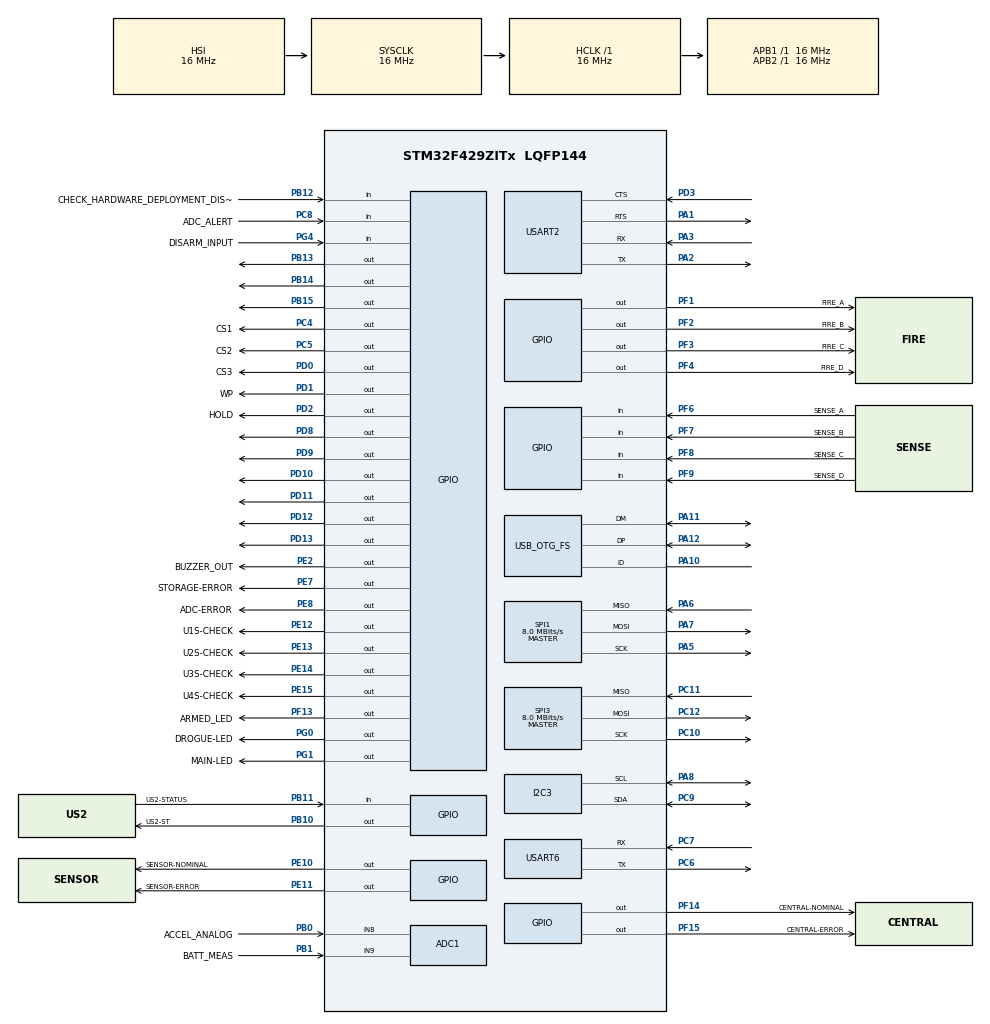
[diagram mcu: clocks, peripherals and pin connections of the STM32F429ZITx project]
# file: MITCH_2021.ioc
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ADC1.Channel-0\#ChannelRegularConversion=ADC_CHANNEL_8
ADC1.NbrOfConversionFlag=1
ADC1.Rank-0\#ChannelRegularConversion=1
ADC1.SamplingTime-0\#ChannelRegularConversion=ADC_SAMPLETIME_3CYCLES
ADC1.master=1
Dma.ADC1.0.Direction=DMA_PERIPH_TO_MEMORY
Dma.ADC1.0.FIFOMode=DMA_FIFOMODE_DISABLE
Dma.ADC1.0.Instance=DMA2_Stream0
Dma.ADC1.0.MemDataAlignment=DMA_MDATAALIGN_HALFWORD
Dma.ADC1.0.MemInc=DMA_MINC_ENABLE
Dma.ADC1.0.Mode=DMA_NORMAL
Dma.ADC1.0.PeriphDataAlignment=DMA_PDATAALIGN_HALFWORD
Dma.ADC1.0.PeriphInc=DMA_PINC_DISABLE
Dma.ADC1.0.Priority=DMA_PRIORITY_HIGH
Dma.Request0=ADC1
Dma.Request1=SPI1_RX
Dma.SPI1_RX.1.Direction=DMA_PERIPH_TO_MEMORY
Dma.SPI1_RX.1.FIFOMode=DMA_FIFOMODE_DISABLE
Dma.SPI1_RX.1.Instance=DMA2_Stream2
Dma.SPI1_RX.1.MemDataAlignment=DMA_MDATAALIGN_HALFWORD
Dma.SPI1_RX.1.MemInc=DMA_MINC_ENABLE
Dma.SPI1_RX.1.Mode=DMA_NORMAL
Dma.SPI1_RX.1.PeriphDataAlignment=DMA_PDATAALIGN_HALFWORD
Dma.SPI1_RX.1.PeriphInc=DMA_PINC_DISABLE
Dma.SPI1_RX.1.Priority=DMA_PRIORITY_LOW
FREERTOS.INCLUDE_vTaskDelayUntil=1
FREERTOS.Tasks01=ControlLogic,0,128,startControlLogic,Default,NULL,Static,ControlLogicBuffer,ControlLogicControlBlock;Acquisition,3,128,startAcquisition,Default,NULL,Static,AcquisitionBuffer,AcquisitionControlBlock;Processing,0,128,startProcessing,Default,NULL,Static,ProcessingBuffer,ProcessingControlBlock;Monitoring,-2,128,startMonitoring,Default,NULL,Static,MonitoringBuffer,MonitoringControlBlock
Mcu.Family=STM32F4
Mcu.Name=STM32F429ZITx
Mcu.Package=LQFP144
NVIC.DMA2_Stream0_IRQn=true\:5\:0\:false\:false\:true\:true\:false\:true
NVIC.DMA2_Stream2_IRQn=true\:5\:0\:false\:false\:true\:true\:false\:true
NVIC.PriorityGroup=NVIC_PRIORITYGROUP_4
NVIC.TIM1_UP_TIM10_IRQn=true\:0\:0\:false\:false\:true\:false\:false\:true
NVIC.TimeBase=TIM1_UP_TIM10_IRQn
NVIC.TimeBaseIP=TIM1
PA1.Mode=CTS_RTS
PA1.Signal=USART2_RTS
PA10.Mode=OTG/Dual_Role_Device
PA10.Signal=USB_OTG_FS_ID
PA11.Mode=OTG/Dual_Role_Device
PA11.Signal=USB_OTG_FS_DM
PA12.Mode=OTG/Dual_Role_Device
PA12.Signal=USB_OTG_FS_DP
PA13.Signal=SYS_JTMS-SWDIO
PA14.Signal=SYS_JTCK-SWCLK
PA2.Mode=Asynchronous
PA2.Signal=USART2_TX
PA3.Mode=Asynchronous
PA3.Signal=USART2_RX
PA5.Mode=Full_Duplex_Master
PA5.Signal=SPI1_SCK
PA6.Mode=Full_Duplex_Master
PA6.Signal=SPI1_MISO
PA7.Mode=Full_Duplex_Master
PA7.Signal=SPI1_MOSI
PA8.Mode=I2C
PA8.Signal=I2C3_SCL
PB0.GPIO_Label=ACCEL_ANALOG
PB0.Signal=SharedAnalog_PB0
PB1.GPIO_Label=BATT_MEAS
PB1.Signal=SharedAnalog_PB1
PB10.GPIO_Label=US2-ST
PB10.Signal=GPIO_Output
PB11.GPIO_Label=US2-STATUS
PB11.Signal=GPIO_Input
PB12.GPIO_Label=CHECK_HARDWARE_DEPLOYMENT_DISABLE
PB12.Signal=GPIO_Input
PB13.Signal=GPIO_Output
PB14.Signal=GPIO_Output
PB15.Signal=GPIO_Output
PB3.Signal=SYS_JTDO-SWO
PC10.Mode=Full_Duplex_Master
PC10.Signal=SPI3_SCK
PC11.Mode=Full_Duplex_Master
PC11.Signal=SPI3_MISO
PC12.Mode=Full_Duplex_Master
PC12.Signal=SPI3_MOSI
PC4.GPIO_Label=CS1
PC4.Signal=GPIO_Output
PC5.GPIO_Label=CS2
PC5.Signal=GPIO_Output
PC6.Mode=Asynchronous
PC6.Signal=USART6_TX
PC7.Mode=Asynchronous
PC7.Signal=USART6_RX
PC8.GPIO_Label=ADC_ALERT
PC8.Signal=GPIO_Input
PC9.Mode=I2C
PC9.Signal=I2C3_SDA
PD0.GPIO_Label=CS3
PD0.Signal=GPIO_Output
PD1.GPIO_Label=WP
PD1.Signal=GPIO_Output
PD10.Signal=GPIO_Output
PD11.Signal=GPIO_Output
PD12.Signal=GPIO_Output
PD13.Signal=GPIO_Output
PD2.GPIO_Label=HOLD
PD2.Signal=GPIO_Output
PD3.Mode=CTS_RTS
PD3.Signal=USART2_CTS
PD8.Signal=GPIO_Output
PD9.Signal=GPIO_Output
PE10.GPIO_Label=SENSOR-NOMINAL
PE10.Signal=GPIO_Output
PE11.GPIO_Label=SENSOR-ERROR
PE11.Signal=GPIO_Output
PE12.GPIO_Label=U1S-CHECK
PE12.Signal=GPIO_Output
PE13.GPIO_Label=U2S-CHECK
PE13.Signal=GPIO_Output
PE14.GPIO_Label=U3S-CHECK
PE14.Signal=GPIO_Output
PE15.GPIO_Label=U4S-CHECK
PE15.Signal=GPIO_Output
PE2.GPIO_Label=BUZZER_OUT
PE2.Signal=GPIO_Output
PE7.GPIO_Label=STORAGE-ERROR
PE7.Signal=GPIO_Output
PE8.GPIO_Label=ADC-ERROR
PE8.Signal=GPIO_Output
PF1.GPIO_Label=FIRE_A
PF1.Signal=GPIO_Output
PF13.GPIO_Label=ARMED_LED
PF13.Signal=GPIO_Output
PF14.GPIO_Label=CENTRAL-NOMINAL
PF14.Signal=GPIO_Output
PF15.GPIO_Label=CENTRAL-ERROR
PF15.Signal=GPIO_Output
PF2.GPIO_Label=FIRE_B
PF2.Signal=GPIO_Output
PF3.GPIO_Label=FIRE_C
PF3.Signal=GPIO_Output
PF4.GPIO_Label=FIRE_D
PF4.Signal=GPIO_Output
PF6.GPIO_Label=SENSE_A
PF6.Signal=GPIO_Input
PF7.GPIO_Label=SENSE_B
PF7.Signal=GPIO_Input
PF8.GPIO_Label=SENSE_C
PF8.Signal=GPIO_Input
PF9.GPIO_Label=SENSE_D
PF9.Signal=GPIO_Input
PG0.GPIO_Label=DROGUE-LED
PG0.Signal=GPIO_Output
PG1.GPIO_Label=MAIN-LED
PG1.Signal=GPIO_Output
PG4.GPIO_Label=DISARM_INPUT
PG4.Signal=GPIO_Input
PH0/OSC_IN.Mode=HSE-External-Oscillator
PH0/OSC_IN.Signal=RCC_OSC_IN
PH1/OSC_OUT.Mode=HSE-External-Oscillator
PH1/OSC_OUT.Signal=RCC_OSC_OUT
ProjectManager.HeapSize=0x200
ProjectManager.StackSize=0x400
ProjectManager.TargetToolchain=STM32CubeIDE
RCC.48MHZClocksFreq_Value=48000000
RCC.AHBFreq_Value=16000000
RCC.APB1Freq_Value=16000000
RCC.APB2Freq_Value=16000000
RCC.CortexFreq_Value=16000000
RCC.HSE_VALUE=8000000
RCC.HSI_VALUE=16000000
RCC.LSE_VALUE=32768
RCC.PLLM=4
RCC.PLLN=72
RCC.PLLQ=3
RCC.PLLSourceVirtual=RCC_PLLSOURCE_HSE
RCC.SYSCLKFreq_VALUE=16000000
RCC.VCOOutputFreq_Value=144000000
SH.SharedAnalog_PB0.0=GPIO_Analog
SH.SharedAnalog_PB0.1=ADC1_IN8,IN8
SH.SharedAnalog_PB1.0=GPIO_Analog
SH.SharedAnalog_PB1.1=ADC1_IN9,IN9
SPI1.CalculateBaudRate=8.0 MBits/s
SPI1.Direction=SPI_DIRECTION_2LINES
SPI1.Mode=SPI_MODE_MASTER
SPI1.VirtualType=VM_MASTER
SPI3.CalculateBaudRate=8.0 MBits/s
SPI3.Direction=SPI_DIRECTION_2LINES
SPI3.Mode=SPI_MODE_MASTER
SPI3.VirtualType=VM_MASTER
USART2.VirtualMode=VM_ASYNC
USART6.VirtualMode=VM_ASYNC
VP_FREERTOS_VS_CMSIS_V1.Mode=CMSIS_V1
VP_SYS_VS_tim1.Mode=TIM1
board=custom

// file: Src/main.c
/* USER CODE BEGIN Header */
/**
  ******************************************************************************
  * @file           : main.c
  * @brief          : Main program body
  ******************************************************************************
  * @attention
  *
  * <h2><center>&copy; Copyright (c) 2020 STMicroelectronics.
  * All rights reserved.</center></h2>
  *
  * This software component is licensed by ST under Ultimate Liberty license
  * SLA0044, the "License"; You may not use this file except in compliance with
  * the License. You may obtain a copy of the License at:
  *                             www.st.com/SLA0044
  *
  ******************************************************************************
  */
/* USER CODE END Header */
#include "main.h"
#include "cmsis_os.h"

/* USER CODE BEGIN Includes */
#include "task.h"
/* User-defined libraries */

#include <stdbool.h>
#include <stdint.h>

#include "../IncPSP/acquisition.h"
#include "../IncPSP/common.h"
#include "../IncPSP/controlLogic.h"
#include "../IncPSP/monitoring.h"
#include "../IncPSP/processing.h"
#include "../IncPSP/storage.h"
#include "../IncPSP/transmission.h"

/* USER CODE END Includes */

ADC_HandleTypeDef hadc1;
DMA_HandleTypeDef hdma_adc1;

I2C_HandleTypeDef hi2c3;

SPI_HandleTypeDef hspi1;
SPI_HandleTypeDef hspi3;
DMA_HandleTypeDef hdma_spi1_rx;

UART_HandleTypeDef huart2;
UART_HandleTypeDef huart6;

osThreadId ControlLogicHandle;
uint32_t ControlLogicBuffer[ 128 ];
osStaticThreadDef_t ControlLogicControlBlock;
osThreadId AcquisitionHandle;
uint32_t AcquisitionBuffer[ 128 ];
osStaticThreadDef_t AcquisitionControlBlock;
osThreadId ProcessingHandle;
uint32_t ProcessingBuffer[ 128 ];
osStaticThreadDef_t ProcessingControlBlock;
osThreadId MonitoringHandle;
uint32_t MonitoringBuffer[ 128 ];
osStaticThreadDef_t MonitoringControlBlock;
/* USER CODE BEGIN PV */

// Acquisition LEDs
led_t U1S_CHECK_Led;
led_t U2S_CHECK_Led;
led_t U3S_CHECK_Led;
led_t U4S_CHECK_Led;
led_t SENSOR_NOMINAL_Led;
led_t SENSOR_ERROR_Led;

// Central LEDs
led_t ARMED_Led;
led_t CENTRAL_NOMINAL_Led;
led_t CENTRAL_ERROR_Led;
led_t DROGUE_Led;
led_t MAIN_Led;
led_t STORAGE_ERROR_Led;
led_t ADC_ERROR_Led;
/* USER CODE END PV */

void SystemClock_Config(void);
static void MX_GPIO_Init(void);
static void MX_DMA_Init(void);
static void MX_I2C3_Init(void);
static void MX_SPI1_Init(void);
static void MX_SPI3_Init(void);
static void MX_USART2_UART_Init(void);
static void MX_USART6_UART_Init(void);
static void MX_USB_OTG_FS_USB_Init(void);
static void MX_ADC1_Init(void);
void startControlLogic(void const * argument);
void startAcquisition(void const * argument);
void startProcessing(void const * argument);
void startMonitoring(void const * argument);

int main(void)
{
  /* USER CODE BEGIN 1 */
	// Acquisition LEDs
	U1S_CHECK_Led = newPinLed(U1S_CHECK_GPIO_Port, U1S_CHECK_Pin);
	U2S_CHECK_Led = newPinLed(U2S_CHECK_GPIO_Port, U1S_CHECK_Pin);
	U3S_CHECK_Led = newPinLed(U3S_CHECK_GPIO_Port, U1S_CHECK_Pin);
	U4S_CHECK_Led = newPinLed(U4S_CHECK_GPIO_Port, U4S_CHECK_Pin);
	SENSOR_NOMINAL_Led = newPinLed(SENSOR_NOMINAL_GPIO_Port, SENSOR_NOMINAL_Pin);
	SENSOR_ERROR_Led = newPinLed(SENSOR_ERROR_GPIO_Port, SENSOR_ERROR_Pin);

	// Central LEDs
	ARMED_Led = newPinLed(ARMED_LED_GPIO_Port, ARMED_LED_Pin);
	CENTRAL_NOMINAL_Led = newPinLed(CENTRAL_NOMINAL_GPIO_Port, CENTRAL_NOMINAL_Pin);
	CENTRAL_ERROR_Led = newPinLed(CENTRAL_ERROR_GPIO_Port, CENTRAL_ERROR_Pin);
	DROGUE_Led = newPinLed(DROGUE_LED_GPIO_Port, DROGUE_LED_Pin);
	MAIN_Led = newPinLed(MAIN_LED_GPIO_Port, MAIN_LED_Pin);
	STORAGE_ERROR_Led = newPinLed(STORAGE_ERROR_GPIO_Port, STORAGE_ERROR_Pin);
	ADC_ERROR_Led = newPinLed(ADC_ERROR_GPIO_Port, ADC_ERROR_Pin);

  /* USER CODE END 1 */

  /* MCU Configuration--------------------------------------------------------*/

  /* Reset of all peripherals, Initializes the Flash interface and the Systick. */
  HAL_Init();

  /* Configure the system clock */
  SystemClock_Config();

  /* Initialize all configured peripherals */
  MX_GPIO_Init();
  MX_DMA_Init();
  MX_I2C3_Init();
  MX_SPI1_Init();
  MX_SPI3_Init();
  MX_USART2_UART_Init();
  MX_USART6_UART_Init();
  MX_USB_OTG_FS_USB_Init();
  MX_ADC1_Init();
  /* USER CODE BEGIN 2 */

  setup_A();
  setup_M();

  /* USER CODE END 2 */

  /* Create the thread(s) */
  /* definition and creation of ControlLogic */
  osThreadStaticDef(ControlLogic, startControlLogic, osPriorityNormal, 0, 128, ControlLogicBuffer, &ControlLogicControlBlock);
  ControlLogicHandle = osThreadCreate(osThread(ControlLogic), NULL);

  /* definition and creation of Acquisition */
  osThreadStaticDef(Acquisition, startAcquisition, osPriorityRealtime, 0, 128, AcquisitionBuffer, &AcquisitionControlBlock);
  AcquisitionHandle = osThreadCreate(osThread(Acquisition), NULL);

  /* definition and creation of Processing */
  osThreadStaticDef(Processing, startProcessing, osPriorityNormal, 0, 128, ProcessingBuffer, &ProcessingControlBlock);
  ProcessingHandle = osThreadCreate(osThread(Processing), NULL);

  /* definition and creation of Monitoring */
  osThreadStaticDef(Monitoring, startMonitoring, osPriorityLow, 0, 128, MonitoringBuffer, &MonitoringControlBlock);
  MonitoringHandle = osThreadCreate(osThread(Monitoring), NULL);

  /* Start scheduler */
  osKernelStart();

  /* We should never get here as control is now taken by the scheduler */
  /* Infinite loop */
  while (1)
  {

  }
}

void SystemClock_Config(void)
{
  RCC_OscInitTypeDef RCC_OscInitStruct = {0};
  RCC_ClkInitTypeDef RCC_ClkInitStruct = {0};

  /** Configure the main internal regulator output voltage
  */
  __HAL_RCC_PWR_CLK_ENABLE();
  __HAL_PWR_VOLTAGESCALING_CONFIG(PWR_REGULATOR_VOLTAGE_SCALE3);
  /** Initializes the RCC Oscillators according to the specified parameters
  * in the RCC_OscInitTypeDef structure.
  */
  RCC_OscInitStruct.OscillatorType = RCC_OSCILLATORTYPE_HSI|RCC_OSCILLATORTYPE_HSE;
  RCC_OscInitStruct.HSEState = RCC_HSE_ON;
  RCC_OscInitStruct.HSIState = RCC_HSI_ON;
  RCC_OscInitStruct.HSICalibrationValue = RCC_HSICALIBRATION_DEFAULT;
  RCC_OscInitStruct.PLL.PLLState = RCC_PLL_ON;
  RCC_OscInitStruct.PLL.PLLSource = RCC_PLLSOURCE_HSE;
  RCC_OscInitStruct.PLL.PLLM = 4;
  RCC_OscInitStruct.PLL.PLLN = 72;
  RCC_OscInitStruct.PLL.PLLP = RCC_PLLP_DIV2;
  RCC_OscInitStruct.PLL.PLLQ = 3;
  if (HAL_RCC_OscConfig(&RCC_OscInitStruct) != HAL_OK)
  {
    Error_Handler();
  }
  /** Initializes the CPU, AHB and APB buses clocks
  */
  RCC_ClkInitStruct.ClockType = RCC_CLOCKTYPE_HCLK|RCC_CLOCKTYPE_SYSCLK
                              |RCC_CLOCKTYPE_PCLK1|RCC_CLOCKTYPE_PCLK2;
  RCC_ClkInitStruct.SYSCLKSource = RCC_SYSCLKSOURCE_HSI;
  RCC_ClkInitStruct.AHBCLKDivider = RCC_SYSCLK_DIV1;
  RCC_ClkInitStruct.APB1CLKDivider = RCC_HCLK_DIV1;
  RCC_ClkInitStruct.APB2CLKDivider = RCC_HCLK_DIV1;

  if (HAL_RCC_ClockConfig(&RCC_ClkInitStruct, FLASH_LATENCY_0) != HAL_OK)
  {
    Error_Handler();
  }
}

static void MX_ADC1_Init(void)
{

  ADC_ChannelConfTypeDef sConfig = {0};

  /** Configure the global features of the ADC (Clock, Resolution, Data Alignment and number of conversion)
  */
  hadc1.Instance = ADC1;
  hadc1.Init.ClockPrescaler = ADC_CLOCK_SYNC_PCLK_DIV2;
  hadc1.Init.Resolution = ADC_RESOLUTION_12B;
  hadc1.Init.ScanConvMode = DISABLE;
  hadc1.Init.ContinuousConvMode = DISABLE;
  hadc1.Init.DiscontinuousConvMode = DISABLE;
  hadc1.Init.ExternalTrigConvEdge = ADC_EXTERNALTRIGCONVEDGE_NONE;
  hadc1.Init.ExternalTrigConv = ADC_SOFTWARE_START;
  hadc1.Init.DataAlign = ADC_DATAALIGN_RIGHT;
  hadc1.Init.NbrOfConversion = 1;
  hadc1.Init.DMAContinuousRequests = DISABLE;
  hadc1.Init.EOCSelection = ADC_EOC_SINGLE_CONV;
  if (HAL_ADC_Init(&hadc1) != HAL_OK)
  {
    Error_Handler();
  }
  /** Configure for the selected ADC regular channel its corresponding rank in the sequencer and its sample time.
  */
  sConfig.Channel = ADC_CHANNEL_8;
  sConfig.Rank = 1;
  sConfig.SamplingTime = ADC_SAMPLETIME_3CYCLES;
  if (HAL_ADC_ConfigChannel(&hadc1, &sConfig) != HAL_OK)
  {
    Error_Handler();
  }

}

static void MX_I2C3_Init(void)
{

  hi2c3.Instance = I2C3;
  hi2c3.Init.ClockSpeed = 100000;
  hi2c3.Init.DutyCycle = I2C_DUTYCYCLE_2;
  hi2c3.Init.OwnAddress1 = 0;
  hi2c3.Init.AddressingMode = I2C_ADDRESSINGMODE_7BIT;
  hi2c3.Init.DualAddressMode = I2C_DUALADDRESS_DISABLE;
  hi2c3.Init.OwnAddress2 = 0;
  hi2c3.Init.GeneralCallMode = I2C_GENERALCALL_DISABLE;
  hi2c3.Init.NoStretchMode = I2C_NOSTRETCH_DISABLE;
  if (HAL_I2C_Init(&hi2c3) != HAL_OK)
  {
    Error_Handler();
  }
  /** Configure Analogue filter
  */
  if (HAL_I2CEx_ConfigAnalogFilter(&hi2c3, I2C_ANALOGFILTER_ENABLE) != HAL_OK)
  {
    Error_Handler();
  }
  /** Configure Digital filter
  */
  if (HAL_I2CEx_ConfigDigitalFilter(&hi2c3, 0) != HAL_OK)
  {
    Error_Handler();
  }

}

static void MX_SPI1_Init(void)
{

  /* SPI1 parameter configuration*/
  hspi1.Instance = SPI1;
  hspi1.Init.Mode = SPI_MODE_MASTER;
  hspi1.Init.Direction = SPI_DIRECTION_2LINES;
  hspi1.Init.DataSize = SPI_DATASIZE_8BIT;
  hspi1.Init.CLKPolarity = SPI_POLARITY_LOW;
  hspi1.Init.CLKPhase = SPI_PHASE_1EDGE;
  hspi1.Init.NSS = SPI_NSS_SOFT;
  hspi1.Init.BaudRatePrescaler = SPI_BAUDRATEPRESCALER_2;
  hspi1.Init.FirstBit = SPI_FIRSTBIT_MSB;
  hspi1.Init.TIMode = SPI_TIMODE_DISABLE;
  hspi1.Init.CRCCalculation = SPI_CRCCALCULATION_DISABLE;
  hspi1.Init.CRCPolynomial = 10;
  if (HAL_SPI_Init(&hspi1) != HAL_OK)
  {
    Error_Handler();
  }

}

static void MX_SPI3_Init(void)
{

  /* SPI3 parameter configuration*/
  hspi3.Instance = SPI3;
  hspi3.Init.Mode = SPI_MODE_MASTER;
  hspi3.Init.Direction = SPI_DIRECTION_2LINES;
  hspi3.Init.DataSize = SPI_DATASIZE_8BIT;
  hspi3.Init.CLKPolarity = SPI_POLARITY_LOW;
  hspi3.Init.CLKPhase = SPI_PHASE_1EDGE;
  hspi3.Init.NSS = SPI_NSS_SOFT;
  hspi3.Init.BaudRatePrescaler = SPI_BAUDRATEPRESCALER_2;
  hspi3.Init.FirstBit = SPI_FIRSTBIT_MSB;
  hspi3.Init.TIMode = SPI_TIMODE_DISABLE;
  hspi3.Init.CRCCalculation = SPI_CRCCALCULATION_DISABLE;
  hspi3.Init.CRCPolynomial = 10;
  if (HAL_SPI_Init(&hspi3) != HAL_OK)
  {
    Error_Handler();
  }

}

static void MX_USART2_UART_Init(void)
{

  huart2.Instance = USART2;
  huart2.Init.BaudRate = 115200;
  huart2.Init.WordLength = UART_WORDLENGTH_8B;
  huart2.Init.StopBits = UART_STOPBITS_1;
  huart2.Init.Parity = UART_PARITY_NONE;
  huart2.Init.Mode = UART_MODE_TX_RX;
  huart2.Init.HwFlowCtl = UART_HWCONTROL_RTS_CTS;
  huart2.Init.OverSampling = UART_OVERSAMPLING_16;
  if (HAL_UART_Init(&huart2) != HAL_OK)
  {
    Error_Handler();
  }

}

static void MX_USART6_UART_Init(void)
{

  huart6.Instance = USART6;
  huart6.Init.BaudRate = 115200;
  huart6.Init.WordLength = UART_WORDLENGTH_8B;
  huart6.Init.StopBits = UART_STOPBITS_1;
  huart6.Init.Parity = UART_PARITY_NONE;
  huart6.Init.Mode = UART_MODE_TX_RX;
  huart6.Init.HwFlowCtl = UART_HWCONTROL_NONE;
  huart6.Init.OverSampling = UART_OVERSAMPLING_16;
  if (HAL_UART_Init(&huart6) != HAL_OK)
  {
    Error_Handler();
  }

}

static void MX_USB_OTG_FS_USB_Init(void)
{

}

static void MX_DMA_Init(void)
{

  /* DMA controller clock enable */
  __HAL_RCC_DMA2_CLK_ENABLE();

  /* DMA interrupt init */
  /* DMA2_Stream0_IRQn interrupt configuration */
  HAL_NVIC_SetPriority(DMA2_Stream0_IRQn, 5, 0);
  HAL_NVIC_EnableIRQ(DMA2_Stream0_IRQn);
  /* DMA2_Stream2_IRQn interrupt configuration */
  HAL_NVIC_SetPriority(DMA2_Stream2_IRQn, 5, 0);
  HAL_NVIC_EnableIRQ(DMA2_Stream2_IRQn);

}

static void MX_GPIO_Init(void)
{
  GPIO_InitTypeDef GPIO_InitStruct = {0};

  /* GPIO Ports Clock Enable */
  __HAL_RCC_GPIOE_CLK_ENABLE();
  __HAL_RCC_GPIOF_CLK_ENABLE();
  __HAL_RCC_GPIOH_CLK_ENABLE();
  __HAL_RCC_GPIOA_CLK_ENABLE();
  __HAL_RCC_GPIOC_CLK_ENABLE();
  __HAL_RCC_GPIOB_CLK_ENABLE();
  __HAL_RCC_GPIOG_CLK_ENABLE();
  __HAL_RCC_GPIOD_CLK_ENABLE();

  /*Configure GPIO pin Output Level */
  HAL_GPIO_WritePin(GPIOE, BUZZER_OUT_Pin|STORAGE_ERROR_Pin|ADC_ERROR_Pin|SENSOR_NOMINAL_Pin
                          |SENSOR_ERROR_Pin|U1S_CHECK_Pin|U2S_CHECK_Pin|U3S_CHECK_Pin
                          |U4S_CHECK_Pin, GPIO_PIN_RESET);

  /*Configure GPIO pin Output Level */
  HAL_GPIO_WritePin(GPIOF, FIRE_A_Pin|FIRE_B_Pin|FIRE_C_Pin|FIRE_D_Pin
                          |ARMED_LED_Pin|CENTRAL_NOMINAL_Pin|CENTRAL_ERROR_Pin, GPIO_PIN_RESET);

  /*Configure GPIO pin Output Level */
  HAL_GPIO_WritePin(GPIOC, CS1_Pin|CS2_Pin, GPIO_PIN_RESET);

  /*Configure GPIO pin Output Level */
  HAL_GPIO_WritePin(GPIOG, DROGUE_LED_Pin|MAIN_LED_Pin, GPIO_PIN_RESET);

  /*Configure GPIO pin Output Level */
  HAL_GPIO_WritePin(GPIOB, US2_ST_Pin|GPIO_PIN_13|GPIO_PIN_14|GPIO_PIN_15, GPIO_PIN_RESET);

  /*Configure GPIO pin Output Level */
  HAL_GPIO_WritePin(GPIOD, GPIO_PIN_8|GPIO_PIN_9|GPIO_PIN_10|GPIO_PIN_11
                          |GPIO_PIN_12|GPIO_PIN_13|CS3_Pin|WP_Pin
                          |HOLD_Pin, GPIO_PIN_RESET);

  /*Configure GPIO pins : BUZZER_OUT_Pin STORAGE_ERROR_Pin ADC_ERROR_Pin SENSOR_NOMINAL_Pin
                           SENSOR_ERROR_Pin U1S_CHECK_Pin U2S_CHECK_Pin U3S_CHECK_Pin
                           U4S_CHECK_Pin */
  GPIO_InitStruct.Pin = BUZZER_OUT_Pin|STORAGE_ERROR_Pin|ADC_ERROR_Pin|SENSOR_NOMINAL_Pin
                          |SENSOR_ERROR_Pin|U1S_CHECK_Pin|U2S_CHECK_Pin|U3S_CHECK_Pin
                          |U4S_CHECK_Pin;
  GPIO_InitStruct.Mode = GPIO_MODE_OUTPUT_PP;
  GPIO_InitStruct.Pull = GPIO_NOPULL;
  GPIO_InitStruct.Speed = GPIO_SPEED_FREQ_LOW;
  HAL_GPIO_Init(GPIOE, &GPIO_InitStruct);

  /*Configure GPIO pins : FIRE_A_Pin FIRE_B_Pin FIRE_C_Pin FIRE_D_Pin
                           ARMED_LED_Pin CENTRAL_NOMINAL_Pin CENTRAL_ERROR_Pin */
  GPIO_InitStruct.Pin = FIRE_A_Pin|FIRE_B_Pin|FIRE_C_Pin|FIRE_D_Pin
                          |ARMED_LED_Pin|CENTRAL_NOMINAL_Pin|CENTRAL_ERROR_Pin;
  GPIO_InitStruct.Mode = GPIO_MODE_OUTPUT_PP;
  GPIO_InitStruct.Pull = GPIO_NOPULL;
  GPIO_InitStruct.Speed = GPIO_SPEED_FREQ_LOW;
  HAL_GPIO_Init(GPIOF, &GPIO_InitStruct);

  /*Configure GPIO pins : SENSE_A_Pin SENSE_B_Pin SENSE_C_Pin SENSE_D_Pin */
  GPIO_InitStruct.Pin = SENSE_A_Pin|SENSE_B_Pin|SENSE_C_Pin|SENSE_D_Pin;
  GPIO_InitStruct.Mode = GPIO_MODE_INPUT;
  GPIO_InitStruct.Pull = GPIO_NOPULL;
  HAL_GPIO_Init(GPIOF, &GPIO_InitStruct);

  /*Configure GPIO pins : CS1_Pin CS2_Pin */
  GPIO_InitStruct.Pin = CS1_Pin|CS2_Pin;
  GPIO_InitStruct.Mode = GPIO_MODE_OUTPUT_PP;
  GPIO_InitStruct.Pull = GPIO_NOPULL;
  GPIO_InitStruct.Speed = GPIO_SPEED_FREQ_LOW;
  HAL_GPIO_Init(GPIOC, &GPIO_InitStruct);

  /*Configure GPIO pins : DROGUE_LED_Pin MAIN_LED_Pin */
  GPIO_InitStruct.Pin = DROGUE_LED_Pin|MAIN_LED_Pin;
  GPIO_InitStruct.Mode = GPIO_MODE_OUTPUT_PP;
  GPIO_InitStruct.Pull = GPIO_NOPULL;
  GPIO_InitStruct.Speed = GPIO_SPEED_FREQ_LOW;
  HAL_GPIO_Init(GPIOG, &GPIO_InitStruct);

  /*Configure GPIO pins : US2_ST_Pin PB13 PB14 PB15 */
  GPIO_InitStruct.Pin = US2_ST_Pin|GPIO_PIN_13|GPIO_PIN_14|GPIO_PIN_15;
  GPIO_InitStruct.Mode = GPIO_MODE_OUTPUT_PP;
  GPIO_InitStruct.Pull = GPIO_NOPULL;
  GPIO_InitStruct.Speed = GPIO_SPEED_FREQ_LOW;
  HAL_GPIO_Init(GPIOB, &GPIO_InitStruct);

  /*Configure GPIO pins : US2_STATUS_Pin CHECK_HARDWARE_DEPLOYMENT_DISABLE_Pin */
  GPIO_InitStruct.Pin = US2_STATUS_Pin|CHECK_HARDWARE_DEPLOYMENT_DISABLE_Pin;
  GPIO_InitStruct.Mode = GPIO_MODE_INPUT;
  GPIO_InitStruct.Pull = GPIO_NOPULL;
  HAL_GPIO_Init(GPIOB, &GPIO_InitStruct);

  /*Configure GPIO pins : PD8 PD9 PD10 PD11
                           PD12 PD13 CS3_Pin WP_Pin
                           HOLD_Pin */
  GPIO_InitStruct.Pin = GPIO_PIN_8|GPIO_PIN_9|GPIO_PIN_10|GPIO_PIN_11
                          |GPIO_PIN_12|GPIO_PIN_13|CS3_Pin|WP_Pin
                          |HOLD_Pin;
  GPIO_InitStruct.Mode = GPIO_MODE_OUTPUT_PP;
  GPIO_InitStruct.Pull = GPIO_NOPULL;
  GPIO_InitStruct.Speed = GPIO_SPEED_FREQ_LOW;
  HAL_GPIO_Init(GPIOD, &GPIO_InitStruct);

  /*Configure GPIO pin : DISARM_INPUT_Pin */
  GPIO_InitStruct.Pin = DISARM_INPUT_Pin;
  GPIO_InitStruct.Mode = GPIO_MODE_INPUT;
  GPIO_InitStruct.Pull = GPIO_NOPULL;
  HAL_GPIO_Init(DISARM_INPUT_GPIO_Port, &GPIO_InitStruct);

  /*Configure GPIO pin : ADC_ALERT_Pin */
  GPIO_InitStruct.Pin = ADC_ALERT_Pin;
  GPIO_InitStruct.Mode = GPIO_MODE_INPUT;
  GPIO_InitStruct.Pull = GPIO_NOPULL;
  HAL_GPIO_Init(ADC_ALERT_GPIO_Port, &GPIO_InitStruct);

  /*Configure GPIO pins : PA10 PA11 PA12 */
  GPIO_InitStruct.Pin = GPIO_PIN_10|GPIO_PIN_11|GPIO_PIN_12;
  GPIO_InitStruct.Mode = GPIO_MODE_AF_PP;
  GPIO_InitStruct.Pull = GPIO_NOPULL;
  GPIO_InitStruct.Speed = GPIO_SPEED_FREQ_VERY_HIGH;
  GPIO_InitStruct.Alternate = GPIO_AF10_OTG_FS;
  HAL_GPIO_Init(GPIOA, &GPIO_InitStruct);

}

void startControlLogic(void const * argument)
{
  /* USER CODE BEGIN 5 */
	static TickType_t time_init = 0;
  /* Infinite loop */
	while(ENABLE_CONTROL_LOGIC) {

		vTaskDelayUntil(&time_init, CONTROL_LOGIC_TASK_DELAY);
	}
  /* USER CODE END 5 */
}

void startAcquisition(void const * argument)
{
  /* USER CODE BEGIN startAcquisition */
	static TickType_t time_init = 0;

  /* Infinite loop */
	while(ENABLE_ACQUISITION) {
		switch(loop_A()) {
		case 1: vTaskDelayUntil(&time_init, ACQUISITION_TASK_DELAY1);
				break;

		case 2: vTaskDelayUntil(&time_init, ACQUISITION_TASK_DELAY2);
				break;

		default:vTaskDelayUntil(&time_init, ACQUISITION_TASK_DELAY0);
				break;
		}
	}

  /* USER CODE END startAcquisition */
}

void startProcessing(void const * argument)
{
  /* USER CODE BEGIN startProcessing */
	static TickType_t time_init = 0;
  /* Infinite loop */
	while(ENABLE_PROCESSING) {

		vTaskDelayUntil(&time_init, PROCESSING_TASK_DELAY);
	}
  /* USER CODE END startProcessing */
}

void startMonitoring(void const * argument)
{
  /* USER CODE BEGIN startMonitoring */
	static TickType_t time_init = 0;
  /* Infinite loop */
	while(ENABLE_MONITORING) {
		loop_M();
		vTaskDelayUntil(&time_init, MONITORING_TASK_DELAY);
	}
  /* USER CODE END startMonitoring */
}

 /**
  * @brief  Period elapsed callback in non blocking mode
  * @note   This function is called  when TIM1 interrupt took place, inside
  * HAL_TIM_IRQHandler(). It makes a direct call to HAL_IncTick() to increment
  * a global variable "uwTick" used as application time base.
  * @param  htim : TIM handle
  * @retval None
  */
void HAL_TIM_PeriodElapsedCallback(TIM_HandleTypeDef *htim)
{
  if (htim->Instance == TIM1) {
    HAL_IncTick();
  }
}

void Error_Handler(void)
{
}

/************************ (C) COPYRIGHT STMicroelectronics *****END OF FILE****/
